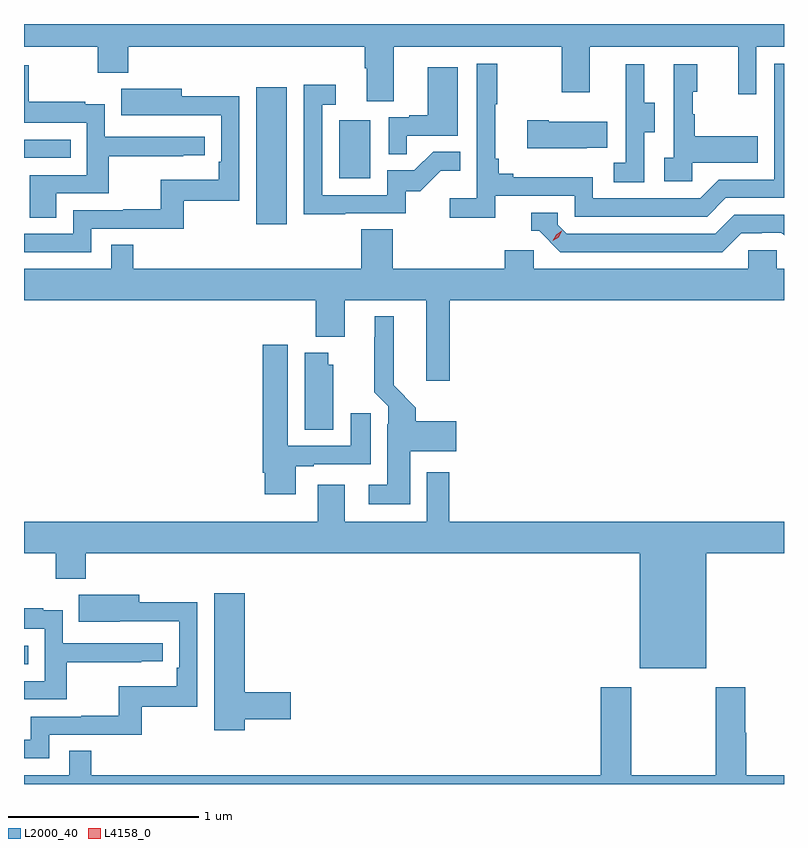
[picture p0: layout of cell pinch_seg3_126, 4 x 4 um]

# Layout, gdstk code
import gdstk
lib = gdstk.Library(unit=1e-6, precision=1e-09)
def R(c, l, rs):  # rectangles x0, y0, x1, y1
    for r in rs: c.add(gdstk.rectangle(r[:2], r[2:], *l))
def P(c, l, *ps):  # polygons
    for p in ps: c.add(gdstk.Polygon(p, *l))
L2000_40 = (2000, 40)
L4158_0 = (4158, 0)

pinch_seg3_126 = lib.new_cell('pinch_seg3_126')
R(pinch_seg3_126, L2000_40, [(1130.472,706.992,1130.495,707.088), (1131.695,709.308,1131.856,710.029), (1132.13,709.548,1132.294,709.855), (1130.472,709.656,1130.717,709.752)])
P(pinch_seg3_126, L2000_40, [(1134.472,710.361),(1130.472,710.361),(1130.472,710.24),(1130.86,710.24),(1130.86,710.105),(1131.02,710.105),(1131.02,710.24),(1132.265,710.24),(1132.265,710.128),(1132.277,710.128),(1132.277,709.954),(1132.417,709.954),(1132.417,710.24),(1133.302,710.24),(1133.302,710.001),(1133.449,710.001),(1133.449,710.24),(1134.23,710.24),(1134.23,709.992),(1134.327,709.992),(1134.327,710.24),(1134.472,710.24)],
  [(1132.952,709.458),(1133.37,709.458),(1133.37,709.347),(1134.067,709.347),(1134.166,709.446),(1134.472,709.446),(1134.472,710.151),(1134.42,710.151),(1134.42,709.542),(1134.129,709.542),(1134.03,709.443),(1133.466,709.443),(1133.466,709.555),(1133.047,709.555),(1133.047,709.574),(1132.97,709.574),(1132.97,709.651),(1132.951,709.651),(1132.951,709.939),(1132.963,709.939),(1132.963,710.152),(1132.854,710.152),(1132.854,709.444),(1132.713,709.444),(1132.713,709.342),(1132.952,709.342)],
  [(1133.988,709.631),(1134.335,709.631),(1134.335,709.771),(1134.001,709.771),(1134.001,709.886),(1133.991,709.886),(1133.991,710.004),(1134.016,710.004),(1134.016,710.149),(1133.892,710.149),(1133.892,709.658),(1133.841,709.658),(1133.841,709.533),(1133.988,709.533)],
  [(1133.736,709.792),(1133.791,709.792),(1133.791,709.947),(1133.737,709.947),(1133.737,710.149),(1133.639,710.149),(1133.639,709.935),(1133.64,709.935),(1133.64,709.631),(1133.577,709.631),(1133.577,709.528),(1133.736,709.528)],
  [(1130.641,709.47),(1130.918,709.47),(1130.918,709.666),(1131.311,709.666),(1131.311,709.671),(1131.424,709.671),(1131.424,709.767),(1130.898,709.767),(1130.898,709.939),(1130.795,709.939),(1130.795,709.951),(1130.497,709.951),(1130.497,710.145),(1130.472,710.145),(1130.472,709.842),(1130.802,709.842),(1130.802,709.566),(1130.501,709.566),(1130.501,709.342),(1130.641,709.342)],
  [(1132.487,709.773),(1132.756,709.773),(1132.756,710.134),(1132.598,710.134),(1132.598,709.882),(1132.499,709.882),(1132.499,709.869),(1132.392,709.869),(1132.392,709.675),(1132.487,709.675)],
  [(1132.163,709.365),(1132.482,709.365),(1132.482,709.482),(1132.558,709.482),(1132.665,709.589),(1132.769,709.589),(1132.769,709.688),(1132.625,709.688),(1132.527,709.59),(1132.383,709.59),(1132.383,709.461),(1132.041,709.461),(1132.041,709.935),(1132.114,709.935),(1132.114,710.041),(1131.945,710.041),(1131.945,709.36),(1132.163,709.36)],
  [(1130.826,709.284),(1131.313,709.284),(1131.313,709.431),(1131.606,709.431),(1131.606,709.982),(1131.301,709.982),(1131.301,710.02),(1130.983,710.02),(1130.983,709.88),(1131.197,709.88),(1131.197,709.881),(1131.51,709.881),(1131.51,709.636),(1131.497,709.636),(1131.497,709.54),(1131.192,709.54),(1131.192,709.385),(1130.995,709.385),(1130.995,709.38),(1130.73,709.38),(1130.73,709.257),(1130.472,709.257),(1130.472,709.161),(1130.826,709.161)],
  [(1133.435,709.709),(1133.543,709.709),(1133.543,709.846),(1133.233,709.846),(1133.233,709.854),(1133.121,709.854),(1133.121,709.706),(1133.435,709.706)],
  [(1134.247,709.26),(1134.354,709.26),(1134.354,709.263),(1134.457,709.263),(1134.472,709.248),(1134.472,709.356),(1134.21,709.356),(1134.111,709.257),(1133.328,709.257),(1133.28,709.305),(1133.28,709.368),(1133.141,709.368),(1133.141,709.272),(1133.184,709.272),(1133.295,709.161),(1134.148,709.161)],
  [(1132.712,708.908),(1134.472,708.908),(1134.472,709.072),(1134.435,709.072),(1134.435,709.17),(1134.285,709.17),(1134.285,709.072),(1133.154,709.072),(1133.154,709.17),(1133.003,709.17),(1133.003,709.072),(1132.412,709.072),(1132.412,709.28),(1132.247,709.28),(1132.247,709.072),(1131.047,709.072),(1131.047,709.199),(1130.931,709.199),(1130.931,709.072),(1130.472,709.072),(1130.472,708.908),(1132.007,708.908),(1132.007,708.716),(1132.159,708.716),(1132.159,708.908),(1132.589,708.908),(1132.589,708.483),(1132.712,708.483)],
  [(1132.504,708.113),(1132.747,708.113),(1132.747,708.271),(1132.535,708.271),(1132.535,708.342),(1132.417,708.46),(1132.417,708.823),(1132.319,708.823),(1132.319,708.713),(1132.315,708.713),(1132.315,708.422),(1132.389,708.348),(1132.389,708.254),(1132.385,708.254),(1132.385,707.935),(1132.287,707.935),(1132.287,707.834),(1132.504,707.834)],
  [(1131.901,708.033),(1131.997,708.033),(1131.997,708.045),(1132.297,708.045),(1132.297,708.313),(1132.193,708.313),(1132.193,708.141),(1131.859,708.141),(1131.859,708.673),(1131.728,708.673),(1131.728,707.998),(1131.74,707.998),(1131.74,707.886),(1131.901,707.886)],
  [(1132.099,708.567),(1132.072,708.567),(1132.072,708.631),(1131.95,708.631),(1131.95,708.226),(1132.099,708.226)],
  [(1134.064,707.576),(1134.472,707.576),(1134.472,707.74),(1132.709,707.74),(1132.709,708.001),(1132.593,708.001),(1132.593,707.74),(1132.159,707.74),(1132.159,707.935),(1132.019,707.935),(1132.019,707.74),(1130.472,707.74),(1130.472,707.576),(1130.638,707.576),(1130.638,707.441),(1130.798,707.441),(1130.798,707.576),(1133.714,707.576),(1133.714,706.97),(1134.064,706.97)],
  [(1131.634,706.702),(1131.877,706.702),(1131.877,706.844),(1131.634,706.844),(1131.634,707.365),(1131.473,707.365),(1131.473,706.644),(1131.634,706.644)],
  [(1130.604,706.62),(1131.091,706.62),(1131.091,706.767),(1131.384,706.767),(1131.384,707.318),(1131.079,707.318),(1131.079,707.356),(1130.761,707.356),(1130.761,707.216),(1130.975,707.216),(1130.975,707.217),(1131.288,707.217),(1131.288,706.972),(1131.275,706.972),(1131.275,706.876),(1130.97,706.876),(1130.97,706.721),(1130.773,706.721),(1130.773,706.716),(1130.508,706.716),(1130.508,706.593),(1130.472,706.593),(1130.472,706.497),(1130.604,706.497)],
  [(1130.696,707.002),(1131.089,707.002),(1131.089,707.007),(1131.202,707.007),(1131.202,707.103),(1130.676,707.103),(1130.676,707.275),(1130.573,707.275),(1130.573,707.287),(1130.472,707.287),(1130.472,707.178),(1130.58,707.178),(1130.58,706.902),(1130.472,706.902),(1130.472,706.806),(1130.696,706.806)],
  [(1134.472,706.408),(1134.272,706.408),(1134.272,706.631),(1134.267,706.631),(1134.267,706.87),(1134.112,706.87),(1134.112,706.408),(1133.667,706.408),(1133.667,706.87),(1133.507,706.87),(1133.507,706.408),(1130.825,706.408),(1130.825,706.535),(1130.709,706.535),(1130.709,706.408),(1130.472,706.408),(1130.472,706.361),(1134.472,706.361)])
P(pinch_seg3_126, L4158_0, [(1133.255,709.22),(1133.255,709.221),(1133.272,709.253),(1133.303,709.272),(1133.303,709.272),(1133.303,709.272),(1133.286,709.239),(1133.255,709.22)])

lib.write_gds('pinch_seg3_126.gds')
